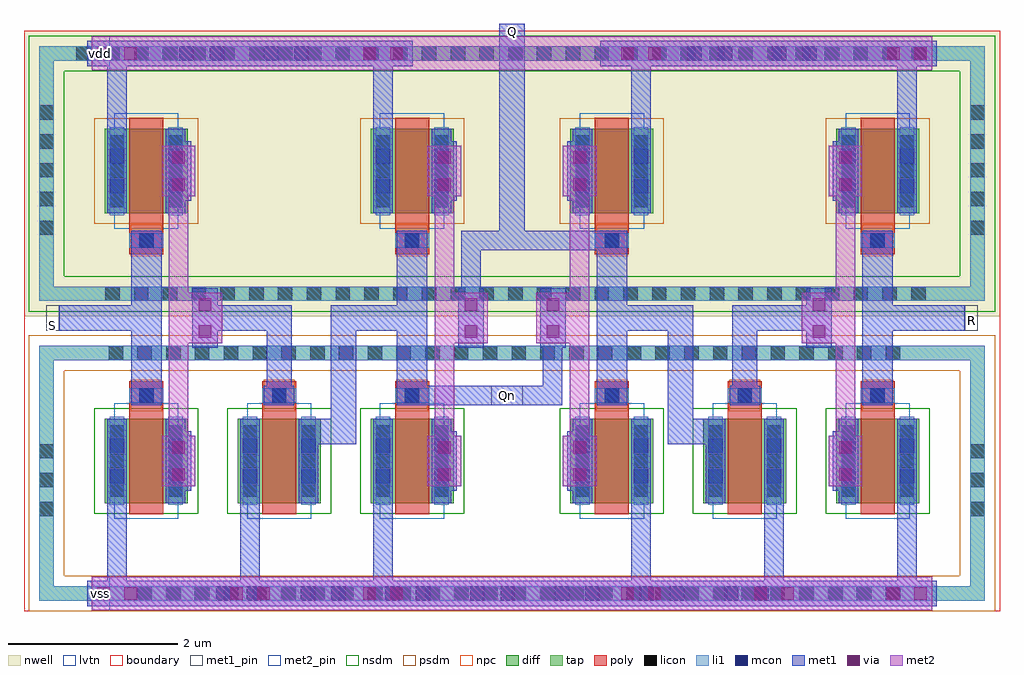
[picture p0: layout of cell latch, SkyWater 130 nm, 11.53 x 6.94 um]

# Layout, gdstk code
from math import pi, radians
import gdstk
lib = gdstk.Library(unit=1e-6, precision=1e-09)
def R(c, l, rs):  # rectangles x0, y0, x1, y1
    for r in rs: c.add(gdstk.rectangle(r[:2], r[2:], *l))
def A(c, l, x, y, w, h, nx, ny, dx, dy):  # array of equal rectangles
    R(c, l, [(x+i*dx, y+j*dy, x+i*dx+w, y+j*dy+h) for i in range(nx) for j in range(ny)])
nwell = (64, 20)
diff = (65, 20)
tap = (65, 44)
poly = (66, 20)
licon = (66, 44)
li1 = (67, 20)
mcon = (67, 44)
met1_pin = (68, 16)
met1 = (68, 20)
via = (68, 44)
met2_pin = (69, 16)
met2 = (69, 20)
nsdm = (93, 44)
psdm = (94, 20)
npc = (95, 20)
lvtn = (125, 44)
boundary = (235, 4)

m1_inv = lib.new_cell('M1_inv')
R(m1_inv, diff, [(-0.49,-0.855,0.49,0.145)])
R(m1_inv, poly, [(-0.2,-0.985,0.2,0.585)])
A(m1_inv, licon, -0.43, -0.78, 0.17, 0.17, 1, 3, 0, 0.34)
A(m1_inv, licon, 0.26, -0.78, 0.17, 0.17, 1, 3, 0, 0.34)
R(m1_inv, licon, [(-0.085,0.335,0.085,0.505)])
R(m1_inv, li1, [(-0.43,-0.875,-0.26,0.165), (0.26,-0.875,0.43,0.165), (-0.2,0.335,0.2,0.505)])
R(m1_inv, mcon, [(-0.43,-0.62,-0.26,-0.45), (0.26,-0.62,0.43,-0.45), (-0.43,-0.26,-0.26,-0.09), (0.26,-0.26,0.43,-0.09), (-0.085,0.335,0.085,0.505)])
R(m1_inv, met1, [(-0.46,-0.855,-0.23,0.145), (0.23,-0.855,0.46,0.145), (-0.18,0.305,0.18,0.535)])
R(m1_inv, nsdm, [(-0.615,-0.98,0.615,0.27)])
R(m1_inv, npc, [(-0.185,0.235,0.185,0.605)])
R(m1_inv, lvtn, [(-0.38,-1.035,0.38,0.325)])

via_12 = lib.new_cell('via_12')
R(via_12, met1, [(0,-0.15,0.7,0.15)])
R(via_12, via, [(0.115,-0.075,0.265,0.075), (0.435,-0.075,0.585,0.075)])
R(via_12, met2, [(0.05,-0.2,0.65,0.2)])

m2_inv = lib.new_cell('M2_inv')
R(m2_inv, nwell, [(-1.18,-1.62,1.18,1.22)])
R(m2_inv, diff, [(-0.49,-0.52,0.49,0.48)])
R(m2_inv, poly, [(-0.2,-1.005,0.2,0.61)])
A(m2_inv, licon, -0.43, -0.445, 0.17, 0.17, 1, 3, 0, 0.34)
A(m2_inv, licon, 0.26, -0.445, 0.17, 0.17, 1, 3, 0, 0.34)
R(m2_inv, licon, [(-0.085,-0.925,0.085,-0.755)])
R(m2_inv, li1, [(-0.2,-0.925,0.2,-0.755), (-0.43,-0.54,-0.26,0.5), (0.26,-0.54,0.43,0.5)])
R(m2_inv, mcon, [(-0.085,-0.925,0.085,-0.755), (-0.43,-0.285,-0.26,-0.115), (0.26,-0.285,0.43,-0.115), (-0.43,0.075,-0.26,0.245), (0.26,0.075,0.43,0.245)])
R(m2_inv, met1, [(-0.18,-0.955,0.18,-0.725), (-0.46,-0.52,-0.23,0.48), (0.23,-0.52,0.46,0.48)])
R(m2_inv, psdm, [(-0.615,-0.645,0.615,0.605)])
R(m2_inv, npc, [(-0.185,-1.025,0.185,-0.655)])
R(m2_inv, lvtn, [(-0.38,-0.7,0.38,0.66)])

inv_lvt = lib.new_cell('inv_lvt')
R(inv_lvt, met1, [(1,1.645,1.36,3.705), (0.85,2.525,1,2.825)])
inv_lvt.add(gdstk.FlexPath([(1.56,3.995),(1.56,1.4)], 0.23, ends="extended", simple_path=True, layer=69, datatype=20))  # met2
inv_lvt.add(gdstk.Reference(m1_inv, (1.18,1.34)))
inv_lvt.add(gdstk.Reference(via_12, (1.875,2.325), rotation=pi/2))
inv_lvt.add(gdstk.Reference(via_12, (1.56,4.76), rotation=3*pi/2))
inv_lvt.add(gdstk.Reference(via_12, (1.56,1.335), rotation=3*pi/2))
inv_lvt.add(gdstk.Reference(m2_inv, (1.18,4.43)))

m1_2 = lib.new_cell('M1_2')
R(m1_2, diff, [(-0.49,-0.545,0.49,0.455)])
R(m1_2, poly, [(-0.2,-0.985,0.2,0.585)])
A(m1_2, licon, -0.43, -0.47, 0.17, 0.17, 1, 3, 0, 0.34)
A(m1_2, licon, 0.26, -0.47, 0.17, 0.17, 1, 3, 0, 0.34)
R(m1_2, licon, [(-0.085,-0.905,0.085,-0.735)])
R(m1_2, li1, [(-0.2,-0.905,0.2,-0.735), (-0.43,-0.565,-0.26,0.475), (0.26,-0.565,0.43,0.475)])
R(m1_2, mcon, [(-0.085,-0.905,0.085,-0.735), (-0.43,-0.31,-0.26,-0.14), (0.26,-0.31,0.43,-0.14), (-0.43,0.05,-0.26,0.22), (0.26,0.05,0.43,0.22)])
R(m1_2, met1, [(-0.18,-0.935,0.18,-0.705), (-0.46,-0.545,-0.23,0.455), (0.23,-0.545,0.46,0.455)])
R(m1_2, nsdm, [(-0.615,-0.67,0.615,0.58)])
R(m1_2, npc, [(-0.185,-1.005,0.185,-0.635)])
R(m1_2, lvtn, [(-0.38,-0.725,0.38,0.635)])

m2_1 = lib.new_cell('M2_1')
R(m2_1, diff, [(-0.49,-0.545,0.49,0.455)])
R(m2_1, poly, [(-0.2,-0.985,0.2,0.585)])
A(m2_1, licon, -0.43, -0.47, 0.17, 0.17, 1, 3, 0, 0.34)
A(m2_1, licon, 0.26, -0.47, 0.17, 0.17, 1, 3, 0, 0.34)
R(m2_1, licon, [(-0.085,-0.905,0.085,-0.735)])
R(m2_1, li1, [(-0.2,-0.905,0.2,-0.735), (-0.43,-0.565,-0.26,0.475), (0.26,-0.565,0.43,0.475)])
R(m2_1, mcon, [(-0.085,-0.905,0.085,-0.735), (-0.43,-0.31,-0.26,-0.14), (0.26,-0.31,0.43,-0.14), (-0.43,0.05,-0.26,0.22), (0.26,0.05,0.43,0.22)])
R(m2_1, met1, [(-0.18,-0.935,0.18,-0.705), (-0.46,-0.545,-0.23,0.455), (0.23,-0.545,0.46,0.455)])
R(m2_1, nsdm, [(-0.615,-0.67,0.615,0.58)])
R(m2_1, npc, [(-0.185,-1.005,0.185,-0.635)])
R(m2_1, lvtn, [(-0.38,-0.725,0.38,0.635)])

guardring_p = lib.new_cell('Guardring_P')
A(guardring_p, licon, -2.445, 2.725, 0.17, 0.17, 29, 1, 0.34, 0)
A(guardring_p, licon, -3.225, 3.505, 0.17, 0.17, 1, 5, 0, 0.34)
A(guardring_p, licon, 7.775, 3.505, 0.17, 0.17, 1, 5, 0, 0.34)
A(guardring_p, licon, -2.785, 5.565, 0.17, 0.17, 30, 1, 0.34, 0)
guardring_p.add(gdstk.FlexPath([(-3.225,5.65),(7.86,5.65),(7.86,2.81),(-3.14,2.81),(-3.14,5.65)], 0.17, ends="flush", simple_path=True, layer=67, datatype=20))  # li1
guardring_p.add(gdstk.FlexPath([(-3.225,5.65),(7.86,5.65),(7.86,2.81),(-3.14,2.81),(-3.14,5.65)], 0.17, ends="flush", simple_path=True, layer=65, datatype=44))  # tap
guardring_p.add(gdstk.FlexPath([(-3.35,5.65),(7.86,5.65),(7.86,2.81),(-3.14,2.81),(-3.14,5.65)], 0.42, ends="flush", simple_path=True, layer=93, datatype=44))  # nsdm
guardring_p.add(gdstk.FlexPath([(-3.405,5.65),(7.86,5.65),(7.86,2.81),(-3.14,2.81),(-3.14,5.65)], 0.53, ends="flush", simple_path=True, layer=64, datatype=20))  # nwell

guardring_n = lib.new_cell('Guardring_N')
A(guardring_n, licon, -2.065, -4.535, 0.17, 0.17, 27, 1, 0.34, 0)
A(guardring_n, licon, -3.225, -3.535, 0.17, 0.17, 1, 3, 0, 0.34)
A(guardring_n, licon, 7.775, -3.535, 0.17, 0.17, 1, 3, 0, 0.34)
A(guardring_n, licon, -2.405, -1.695, 0.17, 0.17, 28, 1, 0.34, 0)
guardring_n.add(gdstk.FlexPath([(-3.225,-1.61),(7.86,-1.61),(7.86,-4.45),(-3.14,-4.45),(-3.14,-1.61)], 0.17, ends="flush", simple_path=True, layer=67, datatype=20))  # li1
guardring_n.add(gdstk.FlexPath([(-3.35,-1.61),(7.86,-1.61),(7.86,-4.45),(-3.14,-4.45),(-3.14,-1.61)], 0.42, ends="flush", simple_path=True, layer=94, datatype=20))  # psdm
guardring_n.add(gdstk.FlexPath([(-3.225,-1.61),(7.86,-1.61),(7.86,-4.45),(-3.14,-4.45),(-3.14,-1.61)], 0.17, ends="flush", simple_path=True, layer=65, datatype=44))  # tap

via1_3 = lib.new_cell('via1_3')
R(via1_3, li1, [(0.03,-0.17,0.56,0)])
R(via1_3, mcon, [(0.03,-0.17,0.2,0), (0.39,-0.17,0.56,0)])
R(via1_3, met1, [(0,-0.2,0.59,0.03)])

latch = lib.new_cell('latch')
R(latch, nwell, [(0.265,3.4,11.265,6.59)])
R(latch, met1_pin, [(5.52,2.235,5.89,2.465), (0.265,3.115,0.415,3.415), (11.115,3.115,11.265,3.415), (5.615,6.59,5.915,6.74)])
A(latch, met1, 0.985, 0.16, 0.23, 0.915, 3, 1, 1.57, 0)
A(latch, met1, 7.175, 0.16, 0.23, 0.915, 3, 1, 1.57, 0)
R(latch, met1, [(0.415,3.115,1.115,3.415), (10.415,3.115,11.115,3.415), (0.985,5.5,1.215,6.24), (4.125,5.5,4.355,6.24), (7.175,5.5,7.405,6.24), (10.315,5.5,10.545,6.24)])
R(latch, met2_pin, [(0.8,-0.19,1.015,0.21), (0.8,6.19,1.015,6.59)])
R(latch, boundary, [(0,-0.2,11.53,6.655), (0.265,-0.19,11.265,6.585)])
latch.add(gdstk.FlexPath([(10.53,6.39),(1,6.39)], 0.4, ends="extended", simple_path=True, layer=69, datatype=20))  # met2
latch.add(gdstk.FlexPath([(10.53,0.01),(1,0.01)], 0.4, ends="extended", simple_path=True, layer=69, datatype=20))  # met2
latch.add(gdstk.FlexPath([(6.955,6.39),(10.63,6.39)], 0.3, ends="extended", simple_path=True, layer=68, datatype=20))  # met1
latch.add(gdstk.FlexPath([(0.9,6.39),(4.44,6.39)], 0.3, ends="extended", simple_path=True, layer=68, datatype=20))  # met1
latch.add(gdstk.FlexPath([(0.9,0.01),(10.63,0.01)], 0.3, ends="extended", simple_path=True, layer=68, datatype=20))  # met1
latch.add(gdstk.FlexPath([(5.28,3.615),(5.28,4.18),(7.005,4.18)], 0.23, ends="extended", simple_path=True, layer=68, datatype=20))  # met1
latch.add(gdstk.FlexPath([(6.245,2.915),(6.245,2.35),(4.52,2.35)], 0.23, ends="extended", simple_path=True, layer=68, datatype=20))  # met1
latch.add(gdstk.FlexPath([(8.135,1.925),(7.755,1.925),(7.755,3.265),(7.275,3.265)], 0.3, ends="extended", simple_path=True, layer=68, datatype=20))  # met1
latch.add(gdstk.FlexPath([(3.395,1.925),(3.775,1.925),(3.775,3.265),(4.255,3.265)], 0.3, ends="extended", simple_path=True, layer=68, datatype=20))  # met1
latch.add(gdstk.FlexPath([(8.515,2.615),(8.515,3.265),(9.09,3.265)], 0.3, ends="extended", simple_path=True, layer=68, datatype=20))  # met1
latch.add(gdstk.FlexPath([(3.015,2.615),(3.015,3.265),(2.44,3.265)], 0.3, ends="extended", simple_path=True, layer=68, datatype=20))  # met1
latch.add(gdstk.FlexPath([(5.765,4.215),(5.765,6.59)], 0.3, ends="extended", simple_path=True, layer=68, datatype=20))  # met1
latch.add(gdstk.Reference(inv_lvt, (8.125,0.59), rotation=pi, x_reflection=True))
latch.add(gdstk.Reference(inv_lvt, (3.405,0.59)))
latch.add(gdstk.Reference(m1_2, (3.015,1.53), rotation=pi))
latch.add(gdstk.Reference(inv_lvt, (0.265,0.59)))
latch.add(gdstk.Reference(m2_1, (8.515,1.53), rotation=pi))
latch.add(gdstk.Reference(inv_lvt, (11.265,0.59), rotation=pi, x_reflection=True))
latch.add(gdstk.Reference(via_12, (1.45,6.39), rotation=pi, x_reflection=True))
latch.add(gdstk.Reference(via_12, (7.64,6.39), rotation=pi, x_reflection=True))
latch.add(gdstk.Reference(via_12, (10.78,6.39), rotation=pi, x_reflection=True))
latch.add(gdstk.Reference(via_12, (4.59,6.39), rotation=pi, x_reflection=True))
latch.add(gdstk.Reference(guardring_p, (3.405,0.74)))
latch.add(gdstk.Reference(guardring_n, (3.405,4.46)))
latch.add(gdstk.Reference(via_12, (7.64,0.01), rotation=pi))
latch.add(gdstk.Reference(via_12, (4.59,0.01), rotation=pi))
latch.add(gdstk.Reference(via_12, (3.02,0.01), rotation=pi))
latch.add(gdstk.Reference(via_12, (1.45,0.01), rotation=pi))
latch.add(gdstk.Reference(via_12, (9.21,0.01), rotation=pi))
latch.add(gdstk.Reference(via_12, (10.78,0.01), rotation=pi))
latch.add(gdstk.Reference(via1_3, (2.83,-0.075), rotation=pi))
latch.add(gdstk.Reference(via1_3, (3.83,-0.075), rotation=pi))
latch.add(gdstk.Reference(via1_3, (4.83,-0.075), rotation=pi))
latch.add(gdstk.Reference(via1_3, (5.83,-0.075), rotation=pi))
latch.add(gdstk.Reference(via1_3, (6.83,-0.075), rotation=pi))
latch.add(gdstk.Reference(via1_3, (7.83,-0.075), rotation=pi))
latch.add(gdstk.Reference(via1_3, (8.83,-0.075), rotation=pi))
latch.add(gdstk.Reference(via1_3, (2.395,6.305), rotation=pi))
latch.add(gdstk.Reference(via1_3, (3.395,6.305), rotation=pi))
latch.add(gdstk.Reference(via1_3, (8.395,6.305), rotation=pi))
latch.add(gdstk.Reference(via1_3, (9.395,6.305), rotation=pi))
latch.add(gdstk.Label('vdd', (0.9,6.385), layer=69, texttype=5))
latch.add(gdstk.Label('vss', (0.9,0.005), layer=69, texttype=5))
latch.add(gdstk.Label('Qn', (5.715,2.35), layer=68, texttype=5))
latch.add(gdstk.Label('S', (0.34,3.175), layer=68, texttype=5))
latch.add(gdstk.Label('R', (11.19,3.23), layer=68, texttype=5))
latch.add(gdstk.Label('Q', (5.77,6.65), layer=68, texttype=5))

lib.write_gds('latch.gds')
